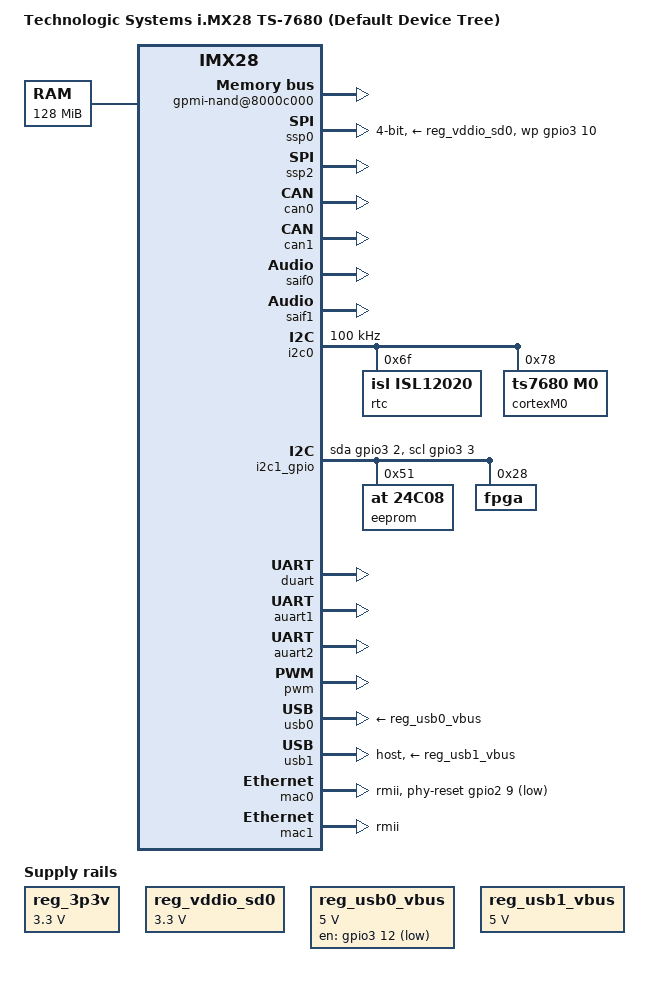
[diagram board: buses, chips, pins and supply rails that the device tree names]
/*
 * Copyright (C) 2012 Marek Vasut <marex@denx.de>
 *
 * The code contained herein is licensed under the GNU General Public
 * License. You may obtain a copy of the GNU General Public License
 * Version 2 or later at the following locations:
 *
 * http://www.opensource.org/licenses/gpl-license.html
 * http://www.gnu.org/copyleft/gpl.html
 */

/dts-v1/;
#include "imx28.dtsi"
#include "dt-bindings/gpio/gpio.h"

/ {
	model = "Technologic Systems i.MX28 TS-7680 (Default Device Tree)";
	compatible = "fsl,imx28-ts7680", "fsl,imx28";

	memory {
		reg = <0x40000000 0x08000000>;   /* 128MB */
	};

	apb@80000000 {
		apbh@80000000 {
		
			gpmi-nand@8000c000 {
				#address-cells = <1>;
				#size-cells = <1>;
				pinctrl-names = "default";
				pinctrl-0 = <&gpmi_pins_a &gpmi_status_cfg>;
				status = "okay";

				partition@0 {
					label = "bootloader";
					reg = <0x00000000 0x00300000>;
					read-only;
				};

				partition@1 {
					label = "environment";
					reg = <0x00300000 0x00080000>;
				};

				partition@2 {
					label = "redundant-environment";
					reg = <0x00380000 0x00080000>;
				};

				partition@3 {
					label = "kernel";
					reg = <0x00400000 0x00400000>;
				};

				partition@4 {
					label = "filesystem";
					reg = <0x00800000 0x0f800000>;
				};
			};
	   
			
			ssp0: ssp@80010000 {
				compatible = "fsl,imx28-mmc";
				pinctrl-names = "default";
				pinctrl-0 = <&mmc0_4bit_pins_ts7680					     
					     &mmc0_sck_cfg
					     &en_sd_pwr>;
				broken-cd = <1>;	     
				bus-width = <4>;
				wp-gpios = <&gpio3 10 0>;
				vmmc-supply = <&reg_vddio_sd0>;
				status = "okay";
			};

			ssp2: ssp@80014000 {
				#address-cells = <1>;
				#size-cells = <0>;
				compatible = "fsl,imx28-spi";
				pinctrl-names = "default";
				pinctrl-0 = <&spi2_pins_a>;
				status = "okay";

				/*
				flash: m25p80@0 {
					#address-cells = <1>;
					#size-cells = <1>;
					compatible = "m25p80";
					spi-max-frequency = <40000000>;
					reg = <0>;
				};
				*/
				
			};

			pinctrl@80018000 {
				pinctrl-names = "default";
				pinctrl-0 = <&hog_pins_a>;

				hog_pins_a: hog@0 {
					reg = <0>;
					fsl,pinmux-ids = <
						MX28_PAD_PWM3__GPIO_3_28
						MX28_PAD_AUART2_CTS__GPIO_3_10
						MX28_PAD_AUART2_RTS__GPIO_3_11
						MX28_PAD_AUART3_RX__GPIO_3_12
						MX28_PAD_AUART3_TX__GPIO_3_13
					>;
					fsl,drive-strength = <MXS_DRIVE_4mA>;
					fsl,voltage = <MXS_VOLTAGE_HIGH>;
					fsl,pull-up = <MXS_PULL_DISABLE>;
				};
			
				en_sd_pwr: en_sd_pwr {
				   fsl,pinmux-ids = <
				      MX28_PAD_PWM3__GPIO_3_28   // EN_SD_POWER#
				   >;
				   fsl,drive-strength = <MXS_DRIVE_4mA>;
					fsl,voltage = <MXS_VOLTAGE_HIGH>;
					fsl,pull-up = <MXS_PULL_DISABLE>;				   
				};
								
				mmc0_4bit_pins_ts7680: mmc0-4bit@0 {
					reg = <0>;
					fsl,pinmux-ids = <
						MX28_PAD_SSP0_DATA0__SSP0_D0
						MX28_PAD_SSP0_DATA1__SSP0_D1
						MX28_PAD_SSP0_DATA2__SSP0_D2
						MX28_PAD_SSP0_DATA3__SSP0_D3
						MX28_PAD_SSP0_CMD__SSP0_CMD						
						MX28_PAD_SSP0_SCK__SSP0_SCK
					>;
					fsl,drive-strength = <MXS_DRIVE_8mA>;
					fsl,voltage = <MXS_VOLTAGE_HIGH>;
					fsl,pull-up = <MXS_PULL_ENABLE>;
				};
				
				eth_reset_n: eth_reset_n {
				fsl,pinmux-ids = <
				      MX28_PAD_SSP0_DETECT__GPIO_2_9   // ETH_RESET#
				   >;
				   fsl,drive-strength = <MXS_DRIVE_4mA>;
					fsl,voltage = <MXS_VOLTAGE_HIGH>;
					fsl,pull-up = <MXS_PULL_ENABLE>;	
				};

				mac0_pins_ts7680: mac0@0 {
					reg = <0>;
					fsl,pinmux-ids = <
					   MX28_PAD_ENET0_MDC__GPIO_4_0
					   MX28_PAD_ENET0_MDIO__GPIO_4_1
					   MX28_PAD_ENET0_RX_EN__ENET0_RX_EN
					   MX28_PAD_ENET0_RXD0__ENET0_RXD0
					   MX28_PAD_ENET0_RXD1__ENET0_RXD1
					   MX28_PAD_ENET0_TX_EN__ENET0_TX_EN
					   MX28_PAD_ENET0_TXD0__ENET0_TXD0
					   MX28_PAD_ENET0_TXD1__ENET0_TXD1
					   MX28_PAD_ENET_CLK__CLKCTRL_ENET
					>;
					fsl,drive-strength = <MXS_DRIVE_8mA>;
					fsl,voltage = <MXS_VOLTAGE_HIGH>;
					fsl,pull-up = <MXS_PULL_ENABLE>;
				};

			  i2c1_gpio_pins: i2c1_gpio_pins@0 {			  
			     fsl,pinmux-ids = <
				      MX28_PAD_AUART0_RTS__GPIO_3_3   // E2_I2C_CLK
				      MX28_PAD_AUART0_CTS__GPIO_3_2   // E2_I2C_DAT
				   >;
				   fsl,drive-strength = <MXS_DRIVE_4mA>;
					fsl,voltage = <MXS_VOLTAGE_HIGH>;
					fsl,pull-up = <MXS_PULL_ENABLE>;				  
			  };				
			};
			
			can0: can@80032000 {
				pinctrl-names = "default";
				pinctrl-0 = <&can0_pins_a>;
				status = "okay";
			};

			can1: can@80034000 {
				pinctrl-names = "default";
				pinctrl-0 = <&can1_pins_a>;
				status = "okay";
			};
		};

		apbx@80040000 {
			saif0: saif@80042000 {
				pinctrl-names = "default";
				pinctrl-0 = <&saif0_pins_a>;
				status = "okay";
			};

			saif1: saif@80046000 {
				pinctrl-names = "default";
				pinctrl-0 = <&saif1_pins_a>;
				fsl,saif-master = <&saif0>;
				status = "okay";
			};


			i2c0: i2c@80058000 {
				pinctrl-names = "default";
				pinctrl-0 = <&i2c0_pins_a>;
				clock-frequency = <100000>;
				status = "okay";

				rtc: isl12020@6f {
				compatible = "isl,isl12020";
				reg = <0x6f>;
				};

				cortexM0: cortextm0@78 {
				compatible = "ts7680,m0";
				reg = <0x78>;				
				};
		   };

			i2c1_gpio: i2c1_gpio@0 {
			   compatible = "i2c-gpio";
			   gpios = <&gpio3 2 0       // E2_I2C_DAT
			         &gpio3 3 0          // E2_I2C_CLK
			      >;
			   i2c-gpio,sda-open-drain;
			   i2c-gpio,scl-open-drain;
			   i2c-gpio,delay-us = <2>;	/* ~100 kHz */
			   i2c-gpio,timeout-ms = <500>; 
			   #address-cells = <1>;
			   #size-cells = <0>;			   
				pinctrl-names = "default";
				pinctrl-0 = <&i2c1_gpio_pins>;
				status = "okay";
				
				eeprom: eeprom@51 {
				   compatible = "at,24c08";
				   reg = <0x51>;
				   pagesize = <16>;
				};
				
				fpga: fpga@28 {
				//compatible = "at,24c08";   // fix this!
				reg = <0x28>;	
				pagesize = <1>;
				};
			};
			
			duart: serial@80074000 {
				pinctrl-names = "default";
				pinctrl-0 = <&duart_pins_a>;
				status = "okay";
			};

			usbphy0: usbphy@8007c000 {
				status = "okay";
			};

			usbphy1: usbphy@8007e000 {			   
				status = "okay";
			};

			auart1: serial@8006c000 {
				pinctrl-names = "default";
				pinctrl-0 = <&auart1_pins_a>;
				status = "okay";
			};

			auart2: serial@8006e000 {
				pinctrl-names = "default";
				pinctrl-0 = <&auart2_2pins_b>;
				status = "okay";
			};

			pwm: pwm@80064000 {
				pinctrl-names = "default";
				pinctrl-0 = <&pwm4_pins_a>;
				status = "okay";
			};
		};
	};

	ahb@80080000 {
		usb0: usb@80080000 {
			vbus-supply = <&reg_usb0_vbus>;
			pinctrl-names = "default";
			pinctrl-0 = <&usbphy0_pins_a>;
			status = "okay";
		};

		usb1: usb@80090000 {
			vbus-supply = <&reg_usb1_vbus>;
			pinctrl-names = "default";
			pinctrl-0 = <&usbphy1_pins_a>;
			disable-over-current;
			dr_mode = "host";
			status = "okay";
		};

		mac0: ethernet@800f0000 {
			phy-mode = "rmii";
			pinctrl-names = "default";
			pinctrl-0 = <&mac0_pins_ts7680
			      &eth_reset_n>;
			clocks = <&clks 57>, <&clks 57>, <&clks 64>;
			clock-names = "ipg", "ahb", "enet_out";
			phy-reset-gpios = <&gpio2 9 GPIO_ACTIVE_LOW>;
			phy-reset-duration = <1000>;
			status = "okay";
			
	      phy: ethernet@0 {	   
	         device_type = "network";	         				         	    
	         fixed-link = <0 1 100 0 0>;
	         };			

		};

		mac1: ethernet@800f4000 {
			phy-mode = "rmii";
			pinctrl-names = "default";
			pinctrl-0 = <&mac1_pins_a>;
			status = "okay";
		};
	};

	regulators {
		compatible = "simple-bus";

		reg_3p3v: 3p3v {
			compatible = "regulator-fixed";
			regulator-name = "3P3V";
			regulator-min-microvolt = <3300000>;
			regulator-max-microvolt = <3300000>;
			regulator-always-on;
		};

		reg_vddio_sd0: vddio-sd0 {
			compatible = "regulator-fixed";
			regulator-name = "vddio-sd0";
			regulator-min-microvolt = <3300000>;
			regulator-max-microvolt = <3300000>;
			regulator-always-on;
			//gpio = <&gpio3 28 0>;
		};

		reg_usb0_vbus: usb0_vbus {
			compatible = "regulator-fixed";
			regulator-name = "usb0_vbus";
			regulator-min-microvolt = <5000000>;
			regulator-max-microvolt = <5000000>;
			gpio = <&gpio3 12 0>;
			
		};

		reg_usb1_vbus: usb1_vbus {
			compatible = "regulator-fixed";
			regulator-name = "usb1_vbus";
			regulator-min-microvolt = <5000000>;
			regulator-max-microvolt = <5000000>;
			//gpio = <&gpio3 13 0>;
			regulator-always-on;
		};
	};
};

